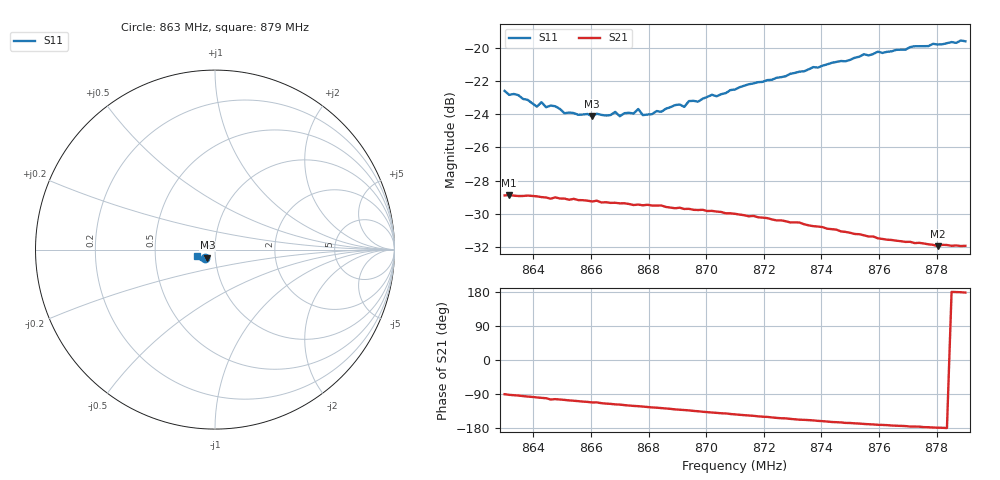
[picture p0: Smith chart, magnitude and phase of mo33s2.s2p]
# HZ S RI R 50
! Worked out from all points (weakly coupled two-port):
!   101 points, 863 MHz to 879 MHz, reference 50 ohm
!   highest |S21| = -28.86 dB at 863.16 MHz (marker M1); lowest = -31.9 dB at 878.04 MHz (marker M2)
!   lowest |S11| = -24.1 dB at 866.04 MHz (marker M3), VSWR 1.13, Z = 45.7 - j4.16 ohm
!   |S11| at or under -10 dB: start of sweep to end of sweep
!   S12 and S22 are empty: the file has one direction only
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8.63e8  -0.057 -0.0475  -0.000182 -0.036  0 0  0 0
8.6316e8  -0.0546 -0.0472  -0.00123 -0.036  0 0  0 0
8.6348e8  -0.0544 -0.0472  -0.00238 -0.0357  0 0  0 0
8.6412e8  -0.0497 -0.0443  -0.00545 -0.0353  0 0  0 0
8.6428e8  -0.0503 -0.0466  -0.0061 -0.035  0 0  0 0
8.6444e8  -0.0489 -0.0447  -0.0067 -0.0348  0 0  0 0
8.6476e8  -0.0493 -0.0449  -0.00815 -0.0345  0 0  0 0
8.6508e8  -0.0456 -0.0443  -0.0093 -0.0339  0 0  0 0
8.6572e8  -0.0439 -0.0452  -0.0118 -0.0327  0 0  0 0
8.6604e8  -0.0426 -0.0453  -0.0129 -0.032  0 0  0 0
8.6684e8  -0.0424 -0.0481  -0.0156 -0.0304  0 0  0 0
8.67e8  -0.0409 -0.0469  -0.0158 -0.0301  0 0  0 0
8.6748e8  -0.0396 -0.0496  -0.0174 -0.0288  0 0  0 0
8.6764e8  -0.0422 -0.05  -0.0178 -0.0287  0 0  0 0
8.678e8  -0.0402 -0.0482  -0.0182 -0.0282  0 0  0 0
8.6844e8  -0.0396 -0.0505  -0.0201 -0.0268  0 0  0 0
8.71e8  -0.0463 -0.0589  -0.0254 -0.0188  0 0  0 0
8.7372e8  -0.0613 -0.0625  -0.0272 -0.0102  0 0  0 0
8.7548e8  -0.0748 -0.0596  -0.0267 -0.0053  0 0  0 0
8.7644e8  -0.0808 -0.0546  -0.0262 -0.00326  0 0  0 0
8.7804e8  -0.0921 -0.0446  -0.0253 -0.000598  0 0  0 0
8.79e8  -0.0984 -0.0354  -0.0253 0.000924  0 0  0 0
